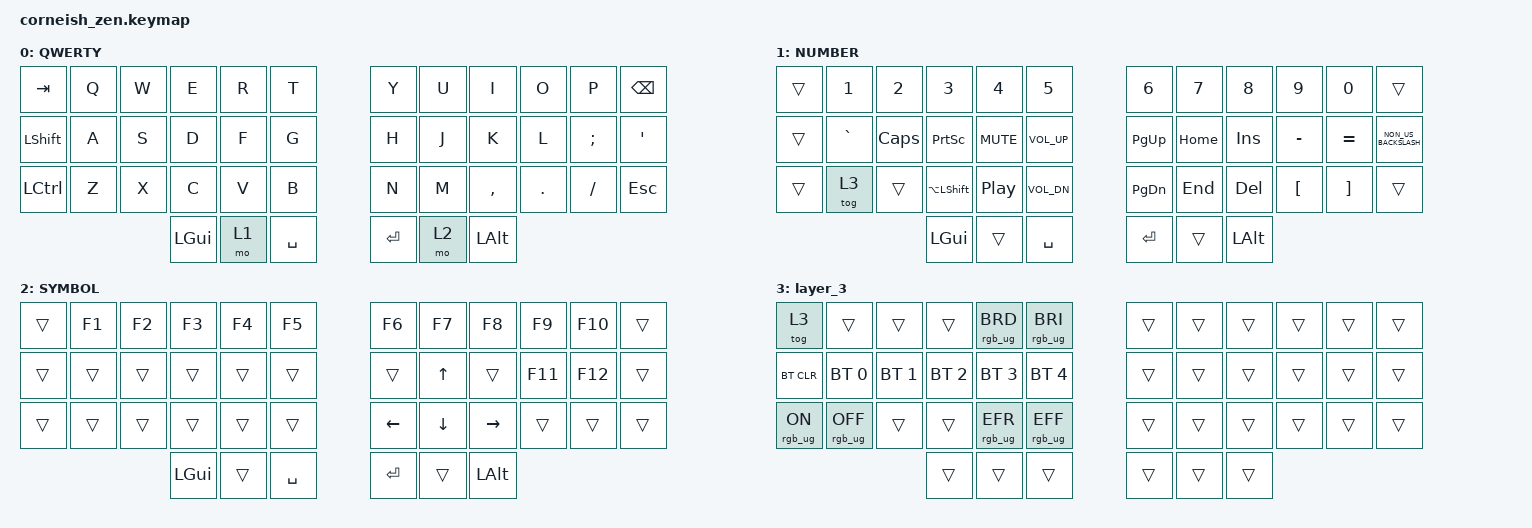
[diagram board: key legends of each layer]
/*
*
* Copyright (c) 2021 Darryl deHaan
* SPDX-License-Identifier: MIT
*
*/

#include <behaviors.dtsi>
#include <dt-bindings/zmk/bt.h>
#include <dt-bindings/zmk/keys.h>
#include <dt-bindings/zmk/rgb.h>

/ {
    chosen {
        zmk,physical-layout = &foostan_corne_6col_layout;

        // zmk,physical-layout = &foostan_corne_5col_layout;
    };
};

/ {
    keymap {
        compatible = "zmk,keymap";

        default_layer {
            display-name = "QWERTY";

            // --------------------------------------------------------------------------------
            // |  TAB |  Q  |  W  |  E  |  R  |  T  |   |  Y  |  U   |  I  |  O  |  P  | BSPC |
            // | CTRL |  A  |  S  |  D  |  F  |  G  |   |  H  |  J   |  K  |  L  |  ;  |  '   |
            // | SHFT |  Z  |  X  |  C  |  V  |  B  |   |  N  |  M   |  ,  |  .  |  /  | ESC  |
            //                    | GUI | LWR | SPC |   | ENT | RSE  | ALT |

            bindings = <
&kp TAB           &kp Q  &kp W  &kp E     &kp R  &kp T        &kp Y    &kp U  &kp I         &kp O    &kp P     &kp BSPC
&kp LEFT_SHIFT    &kp A  &kp S  &kp D     &kp F  &kp G        &kp H    &kp J  &kp K         &kp L    &kp SEMI  &kp SQT
&kp LEFT_CONTROL  &kp Z  &kp X  &kp C     &kp V  &kp B        &kp N    &kp M  &kp COMMA     &kp DOT  &kp FSLH  &kp ESC
                                &kp LGUI  &mo 1  &kp SPACE    &kp RET  &mo 2  &kp LEFT_ALT
            >;
        };

        lower_layer {
            display-name = "NUMBER";

            // -----------------------------------------------------------------------------------------
            // |  TAB |  1  |  2  |  3  |  4  |  5  |   |  6  |  7  |  8  |  9  |  0  | BSPC |
            // | BTCLR| BT1 | BT2 | BT3 | BT4 | BT5 |   | LFT | DWN |  UP | RGT |     |      |
            // | SHFT |     |     |     |     |     |   |     |     |     |     |     |      |
            //                    | GUI |     | SPC |   | ENT |     | ALT |

            bindings = <
&trans  &kp N1     &kp N2        &kp N3              &kp N4            &kp N5          &kp N6         &kp N7    &kp N8        &kp N9            &kp N0             &trans
&trans  &kp GRAVE  &kp CAPSLOCK  &kp PRINTSCREEN     &kp C_MUTE        &kp C_VOL_UP    &kp PAGE_UP    &kp HOME  &kp INSERT    &kp MINUS         &kp EQUAL          &kp NON_US_BACKSLASH
&trans  &tog 3     &trans        &kp LA(LEFT_SHIFT)  &kp C_PLAY_PAUSE  &kp C_VOL_DN    &kp PAGE_DOWN  &kp END   &kp DELETE    &kp LEFT_BRACKET  &kp RIGHT_BRACKET  &trans
                                 &kp LGUI            &trans            &kp SPACE       &kp RET        &trans    &kp LEFT_ALT
            >;
        };

        raise_layer {
            display-name = "SYMBOL";

            // -----------------------------------------------------------------------------------------
            // |  TAB |  !  |  @  |  #  |  $  |  %  |   |  ^  |  &  |  *  |  (  |  )  | BSPC |
            // | CTRL |     |     |     |     |     |   |  -  |  =  |  [  |  ]  |  \  |  `   |
            // | SHFT |     |     |     |     |     |   |  _  |  +  |  {  |  }  | "|" |  ~   |
            //                    | GUI |     | SPC |   | ENT |     | ALT |

            bindings = <
&trans  &kp F1  &kp F2  &kp F3    &kp F4  &kp F5       &kp F6          &kp F7          &kp F8           &kp F9   &kp F10  &trans
&trans  &trans  &trans  &trans    &trans  &trans       &trans          &kp UP_ARROW    &trans           &kp F11  &kp F12  &trans
&trans  &trans  &trans  &trans    &trans  &trans       &kp LEFT_ARROW  &kp DOWN_ARROW  &kp RIGHT_ARROW  &trans   &trans   &trans
                        &kp LGUI  &trans  &kp SPACE    &kp RET         &trans          &kp LEFT_ALT
            >;
        };

        layer_3 {
            bindings = <
&tog 3          &trans           &trans        &trans        &rgb_ug RGB_BRD  &rgb_ug RGB_BRI    &trans  &trans  &trans  &trans  &trans  &trans
&bt BT_CLR      &bt BT_SEL 0     &bt BT_SEL 1  &bt BT_SEL 2  &bt BT_SEL 3     &bt BT_SEL 4       &trans  &trans  &trans  &trans  &trans  &trans
&rgb_ug RGB_ON  &rgb_ug RGB_OFF  &trans        &trans        &rgb_ug RGB_EFR  &rgb_ug RGB_EFF    &trans  &trans  &trans  &trans  &trans  &trans
                                               &trans        &trans           &trans             &trans  &trans  &trans
            >;
        };
    };
};
